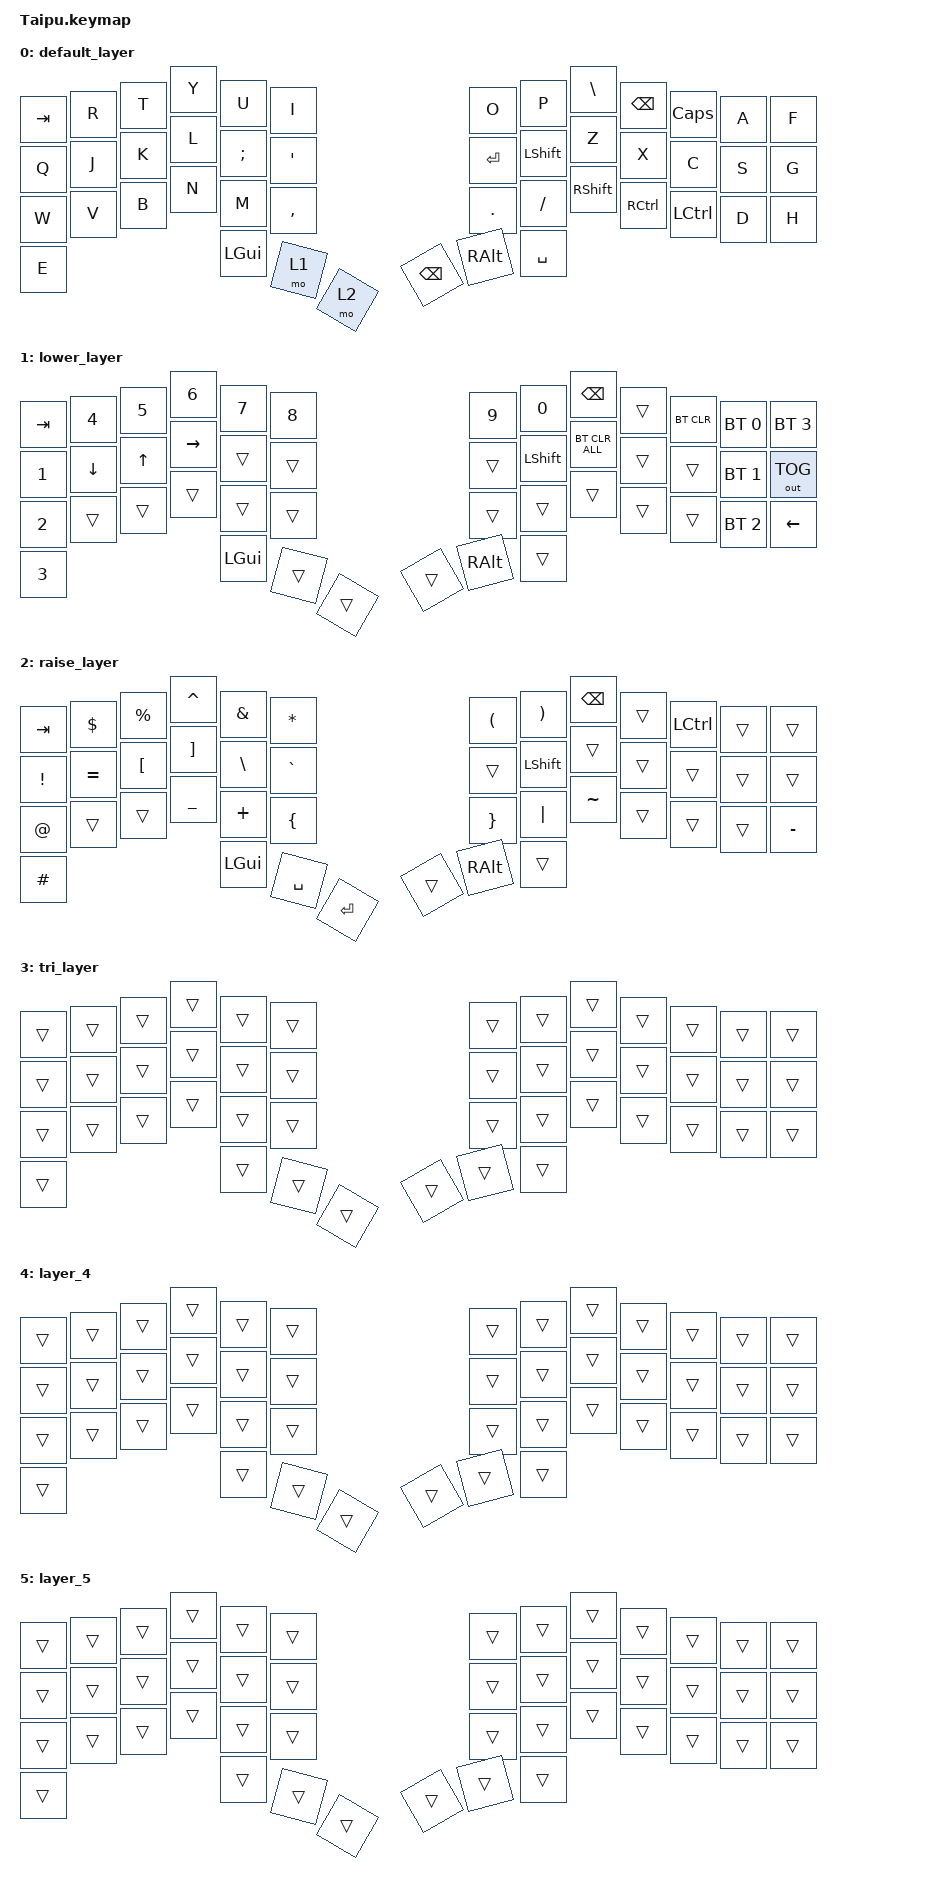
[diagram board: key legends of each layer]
/*
 * Copyright (c) 2020 The ZMK Contributors
 *
 * SPDX-License-Identifier: MIT
 */

#include <behaviors.dtsi>
#include <dt-bindings/zmk/bt.h>
#include <dt-bindings/zmk/keys.h>
#include <dt-bindings/zmk/outputs.h>

/ {
    combos { compatible = "zmk,combos"; };

    keymap {
        compatible = "zmk,keymap";

        default_layer {
            // -----------------------------------------------------------------------------------------
            // |  TAB |  Q  |  W  |  E  |  R  |  T  |   |  Y  |  U   |  I  |  O  |  P  | BSPC |
            // | CTRL |  A  |  S  |  D  |  F  |  G  |   |  H  |  J   |  K  |  L  |  ;  |  '   |
            // | SHFT |  Z  |  X  |  C  |  V  |  B  |   |  N  |  M   |  ,  |  .  |  /  | ESC  |
            //                    | GUI | LWR | SPC |   | ENT | RSE  | ALT |

            bindings = <
&kp TAB       &kp Q     &kp W      &kp E  &kp R  &kp T          &kp Y     &kp U  &kp I      &kp O    &kp P     &kp BACKSLASH  &kp BACKSPACE
&kp CAPSLOCK  &kp A     &kp S      &kp D  &kp F  &kp G          &kp H     &kp J  &kp K      &kp L    &kp SEMI  &kp SQT        &kp ENTER
&kp LSHFT     &kp Z     &kp X      &kp C  &kp V  &kp B          &kp N     &kp M  &kp COMMA  &kp DOT  &kp FSLH  &kp RSHIFT     &kp RCTRL
&kp LCTRL     &kp LGUI  &kp SPACE  &mo 1  &mo 2  &kp BACKSPACE  &kp RALT
            >;
        };

        lower_layer {
            // -----------------------------------------------------------------------------------------
            // |  TAB |  1  |  2  |  3  |  4  |  5  |   |  6  |  7  |  8  |  9  |  0  | BSPC |
            // | BTCLR| BT1 | BT2 | BT3 | BT4 | BT5 |   | LFT | DWN |  UP | RGT |     |      |
            // | SHFT |     |     |     |     |     |   |     |     |     |     |     |      |
            //                    | GUI |     | SPC |   | ENT |     | ALT |

            bindings = <
&kp TAB     &kp N1          &kp N2        &kp N3        &kp N4        &kp N5        &kp N6    &kp N7    &kp N8  &kp N9     &kp N0  &kp BSPC  &trans
&bt BT_CLR  &bt BT_SEL 0    &bt BT_SEL 1  &bt BT_SEL 2  &bt BT_SEL 3  &out OUT_TOG  &kp LEFT  &kp DOWN  &kp UP  &kp RIGHT  &trans  &trans    &trans
&kp LSHFT   &bt BT_CLR_ALL  &trans        &trans        &trans        &trans        &trans    &trans    &trans  &trans     &trans  &trans    &trans
&trans      &kp LGUI        &trans        &trans        &trans        &trans        &kp RALT
            >;
        };

        raise_layer {
            // -----------------------------------------------------------------------------------------
            // |  TAB |  !  |  @  |  #  |  $  |  %  |   |  ^  |  &  |  *  |  (  |  )  | BSPC |
            // | CTRL |     |     |     |     |     |   |  -  |  =  |  [  |  ]  |  \  |  `   |
            // | SHFT |     |     |     |     |     |   |  _  |  +  |  {  |  }  | "|" |  ~   |
            //                    | GUI |     | SPC |   | ENT |     | ALT |

            bindings = <
&kp TAB    &kp EXCL  &kp AT  &kp HASH   &kp DLLR  &kp PRCNT  &kp CARET  &kp AMPS   &kp ASTRK  &kp LPAR  &kp RPAR  &kp BSPC   &trans
&kp LCTRL  &trans    &trans  &trans     &trans    &trans     &kp MINUS  &kp EQUAL  &kp LBKT   &kp RBKT  &kp BSLH  &kp GRAVE  &trans
&kp LSHFT  &trans    &trans  &trans     &trans    &trans     &kp UNDER  &kp PLUS   &kp LBRC   &kp RBRC  &kp PIPE  &kp TILDE  &trans
&trans     &kp LGUI  &trans  &kp SPACE  &kp RET   &trans     &kp RALT
            >;
        };

        tri_layer {
            bindings = <
&trans  &trans  &trans  &trans  &trans  &trans  &trans  &trans  &trans  &trans  &trans  &trans  &trans
&trans  &trans  &trans  &trans  &trans  &trans  &trans  &trans  &trans  &trans  &trans  &trans  &trans
&trans  &trans  &trans  &trans  &trans  &trans  &trans  &trans  &trans  &trans  &trans  &trans  &trans
&trans  &trans  &trans  &trans  &trans  &trans  &trans
            >;
        };

        layer_4 {
            bindings = <
&trans  &trans  &trans  &trans  &trans  &trans  &trans  &trans  &trans  &trans  &trans  &trans  &trans
&trans  &trans  &trans  &trans  &trans  &trans  &trans  &trans  &trans  &trans  &trans  &trans  &trans
&trans  &trans  &trans  &trans  &trans  &trans  &trans  &trans  &trans  &trans  &trans  &trans  &trans
&trans  &trans  &trans  &trans  &trans  &trans  &trans
            >;
        };

        layer_5 {
            bindings = <
&trans  &trans  &trans  &trans  &trans  &trans  &trans  &trans  &trans  &trans  &trans  &trans  &trans
&trans  &trans  &trans  &trans  &trans  &trans  &trans  &trans  &trans  &trans  &trans  &trans  &trans
&trans  &trans  &trans  &trans  &trans  &trans  &trans  &trans  &trans  &trans  &trans  &trans  &trans
&trans  &trans  &trans  &trans  &trans  &trans  &trans
            >;
        };
    };

    conditional_layers {
        compatible = "zmk,conditional-layers";

        tri_layer_con {
            if-layers = <1 2>;
            then-layer = <3>;
        };
    };
};
